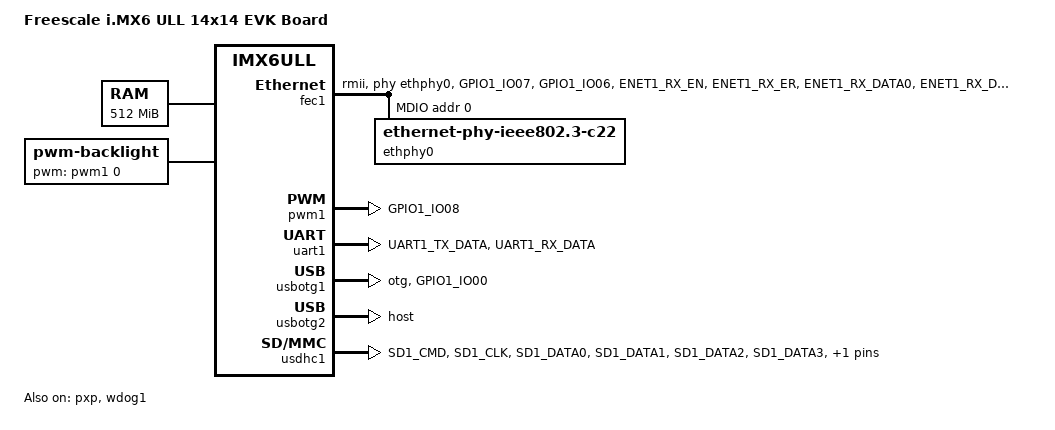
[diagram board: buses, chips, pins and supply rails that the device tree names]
/*
 * Copyright (C) 2016 Freescale Semiconductor, Inc.
 *
 * This program is free software; you can redistribute it and/or modify
 * it under the terms of the GNU General Public License version 2 as
 * published by the Free Software Foundation.
 */

/dts-v1/;

#include "imx6ull.dtsi"

/ {
	model = "Freescale i.MX6 ULL 14x14 EVK Board";
	compatible = "fsl,imx6ull-14x14-evk", "fsl,imx6ull";

	aliases {
		//spi5 = &soft_spi;
	};

	chosen {
		stdout-path = &uart1;
	};

	memory {
		reg = <0x80000000 0x20000000>;
	};

	reserved-memory {
		#address-cells = <1>;
		#size-cells = <1>;
		ranges;

		linux,cma {
			compatible = "shared-dma-pool";
			reusable;
			size = <0x14000000>;
			linux,cma-default;
		};
	};

	backlight {
		compatible = "pwm-backlight";
		pwms = <&pwm1 0 5000000>;
		brightness-levels = <0 4 8 16 32 64 128 255>;
		default-brightness-level = <6>;
		status = "okay";
	};

	pxp_v4l2 {
		compatible = "fsl,imx6ul-pxp-v4l2", "fsl,imx6sx-pxp-v4l2", "fsl,imx6sl-pxp-v4l2";
		status = "disabled";
	};

	regulators {
		compatible = "simple-bus";
		#address-cells = <1>;
		#size-cells = <0>;

        /*
		reg_sd1_vmmc: regulator@1 {
			compatible = "regulator-fixed";
			regulator-name = "VSD_3V3";
			regulator-min-microvolt = <3300000>;
			regulator-max-microvolt = <3300000>;
			gpio = <&gpio1 9 GPIO_ACTIVE_HIGH>;
			u-boot,off-on-delay-us = <20000>;
			enable-active-high;
		};
		*/


	};

};

&csi {
	status = "disabled";

};

&fec1 {
	pinctrl-names = "default";
	pinctrl-0 = <&pinctrl_enet1
	             &pinctrl_fec1_reset>;
	phy-mode = "rmii";
	phy-handle = <&ethphy0>;
    phy-reset-gpios = <&gpio5 9 GPIO_ACTIVE_LOW>;
    phy-reset-duration = <26>;
	status = "okay";
	mdio {
		#address-cells = <1>;
		#size-cells = <0>;

		ethphy0: ethernet-phy@0 {
			compatible = "ethernet-phy-ieee802.3-c22";
			reg = <0>;
			//micrel,led-mode = <1>;
            smsc,disable-energy-detect;
		};

	};
};

&fec2 {
	pinctrl-names = "default";
	pinctrl-0 = <&pinctrl_enet2
	             &pinctrl_fec2_reset>;
	phy-mode = "rmii";
	phy-handle = <&ethphy1>;
    phy-reset-gpios = <&gpio5 6 GPIO_ACTIVE_LOW>;
    phy-reset-duration = <26>;
	status = "disabled";

	mdio {
		#address-cells = <1>;
		#size-cells = <0>;

		ethphy1: ethernet-phy@1 {
			compatible = "ethernet-phy-ieee802.3-c22";
			reg = <1>;
			micrel,led-mode = <1>;
            smsc,disable-energy-detect;
		};
	};
};

&flexcan1 {
	pinctrl-names = "default";
	pinctrl-0 = <&pinctrl_flexcan1>;
	status = "disabled";
};

&flexcan2 {
	pinctrl-names = "default";
	pinctrl-0 = <&pinctrl_flexcan2>;
	status = "disabled";
};

&gpc {
	fsl,cpu_pupscr_sw2iso = <0xf>;
	fsl,cpu_pupscr_sw = <0x0>;
	fsl,cpu_pdnscr_iso2sw = <0x1>;
	fsl,cpu_pdnscr_iso = <0x1>;
	fsl,ldo-bypass = <0>; /* DCDC, ldo-enable */
};

&i2c1 {
	clock-frequency = <100000>;
	pinctrl-names = "default", "gpio";
	pinctrl-0 = <&pinctrl_i2c1>;
	pinctrl-1 = <&pinctrl_i2c1_gpio>;
	scl-gpios = <&gpio1 28 GPIO_ACTIVE_HIGH>;
	sda-gpios = <&gpio1 29 GPIO_ACTIVE_HIGH>;
	status = "disabled";

};

&i2c2 {
	clock_frequency = <100000>;
	pinctrl-names = "default", "gpio";
	pinctrl-0 = <&pinctrl_i2c2>;
	pinctrl-1 = <&pinctrl_i2c2_gpio>;
	scl-gpios = <&gpio1 30 GPIO_ACTIVE_HIGH>;
	sda-gpios = <&gpio1 31 GPIO_ACTIVE_HIGH>;
	status = "disabled";
};

&iomuxc {
	pinctrl-names = "default";
	pinctrl-0 = <&pinctrl_hog_1>;
	imx6ul-evk {
		pinctrl_hog_1: hoggrp-1 {
			fsl,pins = <
				MX6UL_PAD_UART1_RTS_B__GPIO1_IO19	0x17059 /* SD1 CD */
				MX6UL_PAD_GPIO1_IO09__GPIO1_IO09        0x17059 /* SD1 RESET */
			>;
		};

		pinctrl_csi1: csi1grp {
			fsl,pins = <
				MX6UL_PAD_CSI_MCLK__CSI_MCLK		0x1b088
				MX6UL_PAD_CSI_PIXCLK__CSI_PIXCLK	0x1b088
				MX6UL_PAD_CSI_VSYNC__CSI_VSYNC		0x1b088
				MX6UL_PAD_CSI_HSYNC__CSI_HSYNC		0x1b088
				MX6UL_PAD_CSI_DATA00__CSI_DATA02	0x1b088
				MX6UL_PAD_CSI_DATA01__CSI_DATA03	0x1b088
				MX6UL_PAD_CSI_DATA02__CSI_DATA04	0x1b088
				MX6UL_PAD_CSI_DATA03__CSI_DATA05	0x1b088
				MX6UL_PAD_CSI_DATA04__CSI_DATA06	0x1b088
				MX6UL_PAD_CSI_DATA05__CSI_DATA07	0x1b088
				MX6UL_PAD_CSI_DATA06__CSI_DATA08	0x1b088
				MX6UL_PAD_CSI_DATA07__CSI_DATA09	0x1b088
			>;
		};

		pinctrl_enet1: enet1grp {
			fsl,pins = <

				MX6UL_PAD_GPIO1_IO07__ENET2_MDC		0x1b0b0
				MX6UL_PAD_GPIO1_IO06__ENET2_MDIO	0x1b0b0
				MX6UL_PAD_ENET1_RX_EN__ENET1_RX_EN	0x1b0b0
				MX6UL_PAD_ENET1_RX_ER__ENET1_RX_ER	0x1b0b0
				MX6UL_PAD_ENET1_RX_DATA0__ENET1_RDATA00	0x1b0b0
				MX6UL_PAD_ENET1_RX_DATA1__ENET1_RDATA01	0x1b0b0
				MX6UL_PAD_ENET1_TX_EN__ENET1_TX_EN	0x1b0b0
				MX6UL_PAD_ENET1_TX_DATA0__ENET1_TDATA00	0x1b0b0
				MX6UL_PAD_ENET1_TX_DATA1__ENET1_TDATA01	0x1b0b0
				MX6UL_PAD_ENET1_TX_CLK__ENET1_REF_CLK1	0x4001b031
			>;
		};

		pinctrl_enet2: enet2grp {
			fsl,pins = <
				MX6UL_PAD_ENET2_RX_EN__ENET2_RX_EN	0x1b0b0
				MX6UL_PAD_ENET2_RX_ER__ENET2_RX_ER	0x1b0b0
				MX6UL_PAD_ENET2_RX_DATA0__ENET2_RDATA00	0x1b0b0
				MX6UL_PAD_ENET2_RX_DATA1__ENET2_RDATA01	0x1b0b0
				MX6UL_PAD_ENET2_TX_EN__ENET2_TX_EN	0x1b0b0
				MX6UL_PAD_ENET2_TX_DATA0__ENET2_TDATA00	0x1b0b0
				MX6UL_PAD_ENET2_TX_DATA1__ENET2_TDATA01	0x1b0b0
				MX6UL_PAD_ENET2_TX_CLK__ENET2_REF_CLK2	0x4001b031
			>;
		};

		pinctrl_flexcan1: flexcan1grp{
			fsl,pins = <
				MX6UL_PAD_UART3_RTS_B__FLEXCAN1_RX	0x1b020
				MX6UL_PAD_UART3_CTS_B__FLEXCAN1_TX	0x1b020
			>;
		};

		pinctrl_flexcan2: flexcan2grp{
			fsl,pins = <
				MX6UL_PAD_UART2_RTS_B__FLEXCAN2_RX	0x1b020
				MX6UL_PAD_UART2_CTS_B__FLEXCAN2_TX	0x1b020
			>;
		};

		pinctrl_i2c1: i2c1grp {
			fsl,pins = <
				MX6UL_PAD_UART4_TX_DATA__I2C1_SCL 0x4001b8b0
				MX6UL_PAD_UART4_RX_DATA__I2C1_SDA 0x4001b8b0
			>;
		};

		pinctrl_i2c1_gpio: i2c1grp_gpio {
			fsl,pins = <
				MX6UL_PAD_UART4_TX_DATA__GPIO1_IO28 0x1b8b0
				MX6UL_PAD_UART4_RX_DATA__GPIO1_IO29 0x1b8b0
			>;
		};

		pinctrl_i2c2: i2c2grp {
			fsl,pins = <
				MX6UL_PAD_UART5_TX_DATA__I2C2_SCL 0x4001b8b0
				MX6UL_PAD_UART5_RX_DATA__I2C2_SDA 0x4001b8b0
			>;
		};

		pinctrl_i2c2_gpio: i2c2grp_gpio {
			fsl,pins = <
				MX6UL_PAD_UART5_TX_DATA__GPIO1_IO30 0x1b8b0
				MX6UL_PAD_UART5_RX_DATA__GPIO1_IO31 0x1b8b0
			>;
		};

		pinctrl_lcdif_dat: lcdifdatgrp {
			fsl,pins = <
				MX6UL_PAD_LCD_DATA00__LCDIF_DATA00  0x79
				MX6UL_PAD_LCD_DATA01__LCDIF_DATA01  0x79
				MX6UL_PAD_LCD_DATA02__LCDIF_DATA02  0x79
				MX6UL_PAD_LCD_DATA03__LCDIF_DATA03  0x79
				MX6UL_PAD_LCD_DATA04__LCDIF_DATA04  0x79
				MX6UL_PAD_LCD_DATA05__LCDIF_DATA05  0x79
				MX6UL_PAD_LCD_DATA06__LCDIF_DATA06  0x79
				MX6UL_PAD_LCD_DATA07__LCDIF_DATA07  0x79
				MX6UL_PAD_LCD_DATA08__LCDIF_DATA08  0x79
				MX6UL_PAD_LCD_DATA09__LCDIF_DATA09  0x79
				MX6UL_PAD_LCD_DATA10__LCDIF_DATA10  0x79
				MX6UL_PAD_LCD_DATA11__LCDIF_DATA11  0x79
				MX6UL_PAD_LCD_DATA12__LCDIF_DATA12  0x79
				MX6UL_PAD_LCD_DATA13__LCDIF_DATA13  0x79
				MX6UL_PAD_LCD_DATA14__LCDIF_DATA14  0x79
				MX6UL_PAD_LCD_DATA15__LCDIF_DATA15  0x79
				MX6UL_PAD_LCD_DATA16__LCDIF_DATA16  0x79
				MX6UL_PAD_LCD_DATA17__LCDIF_DATA17  0x79
				MX6UL_PAD_LCD_DATA18__LCDIF_DATA18  0x79
				MX6UL_PAD_LCD_DATA19__LCDIF_DATA19  0x79
				MX6UL_PAD_LCD_DATA20__LCDIF_DATA20  0x79
				MX6UL_PAD_LCD_DATA21__LCDIF_DATA21  0x79
				MX6UL_PAD_LCD_DATA22__LCDIF_DATA22  0x79
				MX6UL_PAD_LCD_DATA23__LCDIF_DATA23  0x79
			>;
		};

		pinctrl_lcdif_ctrl: lcdifctrlgrp {
			fsl,pins = <
				MX6UL_PAD_LCD_CLK__LCDIF_CLK	    0x79
				MX6UL_PAD_LCD_ENABLE__LCDIF_ENABLE  0x79
				MX6UL_PAD_LCD_HSYNC__LCDIF_HSYNC    0x79
				MX6UL_PAD_LCD_VSYNC__LCDIF_VSYNC    0x79
			>;
		};

		pinctrl_pwm1: pwm1grp {
			fsl,pins = <
				MX6UL_PAD_GPIO1_IO08__PWM1_OUT   0x110b0
			>;
		};

		pinctrl_qspi: qspigrp {
			fsl,pins = <
				MX6UL_PAD_NAND_WP_B__QSPI_A_SCLK      0x70a1
				MX6UL_PAD_NAND_READY_B__QSPI_A_DATA00 0x70a1
				MX6UL_PAD_NAND_CE0_B__QSPI_A_DATA01   0x70a1
				MX6UL_PAD_NAND_CE1_B__QSPI_A_DATA02   0x70a1
				MX6UL_PAD_NAND_CLE__QSPI_A_DATA03     0x70a1
				MX6UL_PAD_NAND_DQS__QSPI_A_SS0_B      0x70a1
			>;
		};

		pinctrl_sai2: sai2grp {
			fsl,pins = <
				MX6UL_PAD_JTAG_TDI__SAI2_TX_BCLK	0x17088
				MX6UL_PAD_JTAG_TDO__SAI2_TX_SYNC	0x17088
				MX6UL_PAD_JTAG_TRST_B__SAI2_TX_DATA	0x11088
				MX6UL_PAD_JTAG_TCK__SAI2_RX_DATA	0x11088
				MX6UL_PAD_JTAG_TMS__SAI2_MCLK		0x17088
			>;
		};

		pinctrl_tsc: tscgrp {
			fsl,pins = <
				MX6UL_PAD_GPIO1_IO01__GPIO1_IO01	0xb0
				MX6UL_PAD_GPIO1_IO02__GPIO1_IO02	0xb0
				MX6UL_PAD_GPIO1_IO03__GPIO1_IO03	0xb0
				MX6UL_PAD_GPIO1_IO04__GPIO1_IO04	0xb0
			>;
		};

		pinctrl_uart1: uart1grp {
			fsl,pins = <
				MX6UL_PAD_UART1_TX_DATA__UART1_DCE_TX 0x1b0b1
				MX6UL_PAD_UART1_RX_DATA__UART1_DCE_RX 0x1b0b1
			>;
		};

		pinctrl_uart2: uart2grp {
			fsl,pins = <
				MX6UL_PAD_UART2_TX_DATA__UART2_DCE_TX	0x1b0b1
				MX6UL_PAD_UART2_RX_DATA__UART2_DCE_RX	0x1b0b1
				MX6UL_PAD_UART3_RX_DATA__UART2_DCE_RTS	0x1b0b1
				MX6UL_PAD_UART3_TX_DATA__UART2_DCE_CTS	0x1b0b1
			>;
		};

		pinctrl_uart2dte: uart2dtegrp {
			fsl,pins = <
				MX6UL_PAD_UART2_TX_DATA__UART2_DTE_RX	0x1b0b1
				MX6UL_PAD_UART2_RX_DATA__UART2_DTE_TX	0x1b0b1
				MX6UL_PAD_UART3_RX_DATA__UART2_DTE_CTS	0x1b0b1
				MX6UL_PAD_UART3_TX_DATA__UART2_DTE_RTS	0x1b0b1
			>;
		};

		pinctrl_usb_otg1_id: usbotg1idgrp {
			fsl,pins = <
				MX6UL_PAD_GPIO1_IO00__ANATOP_OTG1_ID    0x17059
			>;
		};

		pinctrl_usdhc1: usdhc1grp {
			fsl,pins = <
				MX6UL_PAD_SD1_CMD__USDHC1_CMD     0x17059
				MX6UL_PAD_SD1_CLK__USDHC1_CLK     0x10071
				MX6UL_PAD_SD1_DATA0__USDHC1_DATA0 0x17059
				MX6UL_PAD_SD1_DATA1__USDHC1_DATA1 0x17059
				MX6UL_PAD_SD1_DATA2__USDHC1_DATA2 0x17059
				MX6UL_PAD_SD1_DATA3__USDHC1_DATA3 0x17059
			>;
		};

		pinctrl_usdhc1_100mhz: usdhc1grp100mhz {
			fsl,pins = <
				MX6UL_PAD_SD1_CMD__USDHC1_CMD     0x170b9
				MX6UL_PAD_SD1_CLK__USDHC1_CLK     0x100b9
				MX6UL_PAD_SD1_DATA0__USDHC1_DATA0 0x170b9
				MX6UL_PAD_SD1_DATA1__USDHC1_DATA1 0x170b9
				MX6UL_PAD_SD1_DATA2__USDHC1_DATA2 0x170b9
				MX6UL_PAD_SD1_DATA3__USDHC1_DATA3 0x170b9
			>;
		};

		pinctrl_usdhc1_200mhz: usdhc1grp200mhz {
			fsl,pins = <
				MX6UL_PAD_SD1_CMD__USDHC1_CMD     0x170f9
				MX6UL_PAD_SD1_CLK__USDHC1_CLK     0x100f9
				MX6UL_PAD_SD1_DATA0__USDHC1_DATA0 0x170f9
				MX6UL_PAD_SD1_DATA1__USDHC1_DATA1 0x170f9
				MX6UL_PAD_SD1_DATA2__USDHC1_DATA2 0x170f9
				MX6UL_PAD_SD1_DATA3__USDHC1_DATA3 0x170f9
			>;
		};

		pinctrl_usdhc2: usdhc2grp {
			fsl,pins = <
				MX6UL_PAD_NAND_RE_B__USDHC2_CLK     0x10069
				MX6UL_PAD_NAND_WE_B__USDHC2_CMD     0x17059
				MX6UL_PAD_NAND_DATA00__USDHC2_DATA0 0x17059
				MX6UL_PAD_NAND_DATA01__USDHC2_DATA1 0x17059
				MX6UL_PAD_NAND_DATA02__USDHC2_DATA2 0x17059
				MX6UL_PAD_NAND_DATA03__USDHC2_DATA3 0x17059
			>;
		};

		pinctrl_usdhc2_8bit: usdhc2grp_8bit {
			fsl,pins = <
				MX6UL_PAD_NAND_RE_B__USDHC2_CLK     0x10069
				MX6UL_PAD_NAND_WE_B__USDHC2_CMD     0x17059
				MX6UL_PAD_NAND_DATA00__USDHC2_DATA0 0x17059
				MX6UL_PAD_NAND_DATA01__USDHC2_DATA1 0x17059
				MX6UL_PAD_NAND_DATA02__USDHC2_DATA2 0x17059
				MX6UL_PAD_NAND_DATA03__USDHC2_DATA3 0x17059
				MX6UL_PAD_NAND_DATA04__USDHC2_DATA4 0x17059
				MX6UL_PAD_NAND_DATA05__USDHC2_DATA5 0x17059
				MX6UL_PAD_NAND_DATA06__USDHC2_DATA6 0x17059
				MX6UL_PAD_NAND_DATA07__USDHC2_DATA7 0x17059
			>;
		};

		pinctrl_usdhc2_8bit_100mhz: usdhc2grp_8bit_100mhz {
			fsl,pins = <
				MX6UL_PAD_NAND_RE_B__USDHC2_CLK     0x100b9
				MX6UL_PAD_NAND_WE_B__USDHC2_CMD     0x170b9
				MX6UL_PAD_NAND_DATA00__USDHC2_DATA0 0x170b9
				MX6UL_PAD_NAND_DATA01__USDHC2_DATA1 0x170b9
				MX6UL_PAD_NAND_DATA02__USDHC2_DATA2 0x170b9
				MX6UL_PAD_NAND_DATA03__USDHC2_DATA3 0x170b9
				MX6UL_PAD_NAND_DATA04__USDHC2_DATA4 0x170b9
				MX6UL_PAD_NAND_DATA05__USDHC2_DATA5 0x170b9
				MX6UL_PAD_NAND_DATA06__USDHC2_DATA6 0x170b9
				MX6UL_PAD_NAND_DATA07__USDHC2_DATA7 0x170b9
			>;
		};

		pinctrl_usdhc2_8bit_200mhz: usdhc2grp_8bit_200mhz {
			fsl,pins = <
				MX6UL_PAD_NAND_RE_B__USDHC2_CLK     0x100f9
				MX6UL_PAD_NAND_WE_B__USDHC2_CMD     0x170f9
				MX6UL_PAD_NAND_DATA00__USDHC2_DATA0 0x170f9
				MX6UL_PAD_NAND_DATA01__USDHC2_DATA1 0x170f9
				MX6UL_PAD_NAND_DATA02__USDHC2_DATA2 0x170f9
				MX6UL_PAD_NAND_DATA03__USDHC2_DATA3 0x170f9
				MX6UL_PAD_NAND_DATA04__USDHC2_DATA4 0x170f9
				MX6UL_PAD_NAND_DATA05__USDHC2_DATA5 0x170f9
				MX6UL_PAD_NAND_DATA06__USDHC2_DATA6 0x170f9
				MX6UL_PAD_NAND_DATA07__USDHC2_DATA7 0x170f9
			>;
		};

		pinctrl_lcdif_reset: lcdifresetgrp {
           fsl,pins = <
                MX6UL_PAD_LCD_RESET__GPIO3_IO04     0x1b0b0
            >;
        };

	};
};

&iomuxc_snvs {
	pinctrl-names = "default_snvs";
        pinctrl-0 = <&pinctrl_hog_2>;
        imx6ul-evk {
		pinctrl_hog_2: hoggrp-2 {
                        fsl,pins = <
                                MX6ULL_PAD_SNVS_TAMPER0__GPIO5_IO00      0x80000000
                        >;
                };

        pinctrl_fec1_reset: fec1_resetgrp {
               fsl,pins = <
                   MX6ULL_PAD_SNVS_TAMPER9__GPIO5_IO09 0x79
               >;
           };
        pinctrl_fec2_reset: fec2_resetgrp {
               fsl,pins = <
                   MX6ULL_PAD_SNVS_TAMPER6__GPIO5_IO06 0x79
               >;
           };

		pinctrl_dvfs: dvfsgrp {
                        fsl,pins = <
                                MX6ULL_PAD_SNVS_TAMPER3__GPIO5_IO03      0x79
                        >;
                };
		

		pinctrl_spi4: spi4grp {
                        fsl,pins = <
                                MX6ULL_PAD_BOOT_MODE0__GPIO5_IO10        0x70a1
                                MX6ULL_PAD_BOOT_MODE1__GPIO5_IO11        0x70a1
                                MX6ULL_PAD_SNVS_TAMPER7__GPIO5_IO07      0x70a1
                                MX6ULL_PAD_SNVS_TAMPER8__GPIO5_IO08      0x80000000
                        >;
                };

                pinctrl_sai2_hp_det_b: sai2_hp_det_grp {
                        fsl,pins = <
                                MX6ULL_PAD_SNVS_TAMPER4__GPIO5_IO04   0x17059
                        >;
                };
        };
};


&lcdif {
	pinctrl-names = "default";
	pinctrl-0 = <&pinctrl_lcdif_dat>;
	display = <&display0>;
	status = "disabled";

	display0: display@0 {
		bits-per-pixel = <16>;
		bus-width = <16>;

		display-timings {
			native-mode = <&timing0>;
            timing0: timing0 {
                  clock-frequency = <33000000>;
                  hactive = <800>;
                  vactive = <480>;
                  hfront-porch = <210>;
                  hback-porch = <46>;
                  hsync-len = <1>;
                  vback-porch = <22>;
                  vfront-porch = <23>;
                  vsync-len = <20>;
      
                  hsync-active = <0>;
                  vsync-active = <0>;
                  de-active = <1>;
                  pixelclk-active = <0>;
            };

		};
	};
};

&pwm1 {
	pinctrl-names = "default";
	pinctrl-0 = <&pinctrl_pwm1>;
	status = "okay";
};

&pxp {
	status = "okay";
};

&qspi {
	pinctrl-names = "default";
	pinctrl-0 = <&pinctrl_qspi>;
	status = "disabled";
	ddrsmp=<0>;
};

&sai2 {
	pinctrl-names = "default";
	pinctrl-0 = <&pinctrl_sai2
		     &pinctrl_sai2_hp_det_b>;

	assigned-clocks = <&clks IMX6UL_CLK_SAI2_SEL>,
			  <&clks IMX6UL_CLK_SAI2>;
	assigned-clock-parents = <&clks IMX6UL_CLK_PLL4_AUDIO_DIV>;
	assigned-clock-rates = <0>, <12288000>;

	status = "disabled";
};

&tsc {
	pinctrl-names = "default";
	pinctrl-0 = <&pinctrl_tsc>;
	xnur-gpio = <&gpio1 3 GPIO_ACTIVE_LOW>;
	measure-delay-time = <0xffff>;
	pre-charge-time = <0xfff>;
	status = "disabled";
};

&uart1 {
	pinctrl-names = "default";
	pinctrl-0 = <&pinctrl_uart1>;
	status = "okay";
};

&uart2 {
	pinctrl-names = "default";
	pinctrl-0 = <&pinctrl_uart2>;
	status = "disabled";
};

&usbotg1 {
	pinctrl-names = "default";
	pinctrl-0 = <&pinctrl_usb_otg1_id>;
	dr_mode = "otg";
	srp-disable;
	hnp-disable;
	adp-disable;
	status = "okay";
};

&usbotg2 {
	dr_mode = "host";
	disable-over-current;
	status = "okay";
};

&usbphy1 {
	fsl,tx-d-cal = <106>;
};

&usbphy2 {
	fsl,tx-d-cal = <106>;
};

&usdhc1 {
	pinctrl-names = "default", "state_100mhz", "state_200mhz";
	pinctrl-0 = <&pinctrl_usdhc1>;
	pinctrl-1 = <&pinctrl_usdhc1_100mhz>;
	pinctrl-2 = <&pinctrl_usdhc1_200mhz>;
	cd-gpios = <&gpio1 19 GPIO_ACTIVE_LOW>;
	keep-power-in-suspend;
	enable-sdio-wakeup;
	status = "okay";
};

&usdhc2 {
    pinctrl-names = "default", "state_100mhz", "state_200mhz";
    bus-width = <8>;
    non-removable;
    status = "disabled";
};

&wdog1 {
	status = "okay";
};
